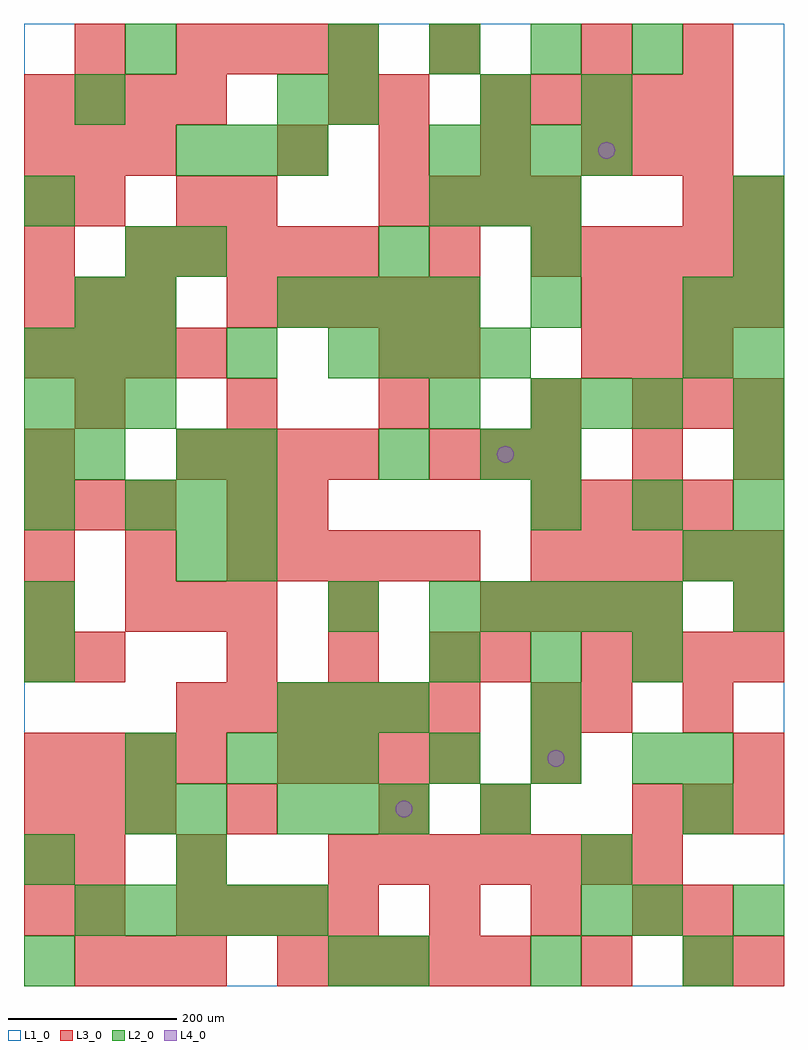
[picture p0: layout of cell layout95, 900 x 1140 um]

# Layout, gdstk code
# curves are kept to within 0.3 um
import gdstk
lib = gdstk.Library(unit=1e-6, precision=1e-09)
def R(c, l, rs):  # rectangles x0, y0, x1, y1
    for r in rs: c.add(gdstk.rectangle(r[:2], r[2:], *l))
def A(c, l, x, y, w, h, nx, ny, dx, dy):  # array of equal rectangles
    R(c, l, [(x+i*dx, y+j*dy, x+i*dx+w, y+j*dy+h) for i in range(nx) for j in range(ny)])
def P(c, l, *ps):  # polygons
    for p in ps: c.add(gdstk.Polygon(p, *l))
L1_0 = (1, 0)
L2_0 = (2, 0)
L3_0 = (3, 0)
L4_0 = (4, 0)

layout95 = lib.new_cell('layout95')
R(layout95, L1_0, [(0,0,900,1140)])
A(layout95, L2_0, 420, 0, 60, 60, 3, 1, 180, 0)
A(layout95, L2_0, 60, 60, 60, 60, 5, 1, 60, 0)
A(layout95, L2_0, 300, 180, 60, 60, 3, 2, 60, 120)
A(layout95, L2_0, 540, 180, 60, 60, 1, 3, 0, 420)
A(layout95, L2_0, 240, 240, 60, 60, 3, 1, 60, 0)
A(layout95, L2_0, 480, 240, 60, 60, 3, 2, 120, 120)
A(layout95, L2_0, 780, 240, 60, 60, 1, 3, 0, 240)
A(layout95, L2_0, 480, 420, 60, 60, 5, 1, 60, 0)
A(layout95, L2_0, 240, 480, 60, 60, 1, 3, 0, 120)
A(layout95, L2_0, 120, 540, 60, 60, 3, 1, 60, 0)
A(layout95, L2_0, 600, 540, 60, 60, 3, 1, 120, 0)
A(layout95, L2_0, 840, 600, 60, 60, 1, 6, 0, 60)
A(layout95, L2_0, 0, 660, 60, 60, 3, 2, 60, 60)
A(layout95, L2_0, 600, 660, 60, 60, 3, 1, 60, 0)
A(layout95, L2_0, 360, 720, 60, 60, 4, 1, 60, 0)
A(layout95, L2_0, 300, 780, 60, 60, 4, 1, 60, 0)
A(layout95, L2_0, 480, 900, 60, 60, 3, 1, 60, 0)
A(layout95, L2_0, 180, 960, 60, 60, 3, 1, 60, 0)
A(layout95, L2_0, 480, 960, 60, 60, 4, 1, 60, 0)
A(layout95, L2_0, 360, 1080, 60, 60, 4, 1, 120, 0)
R(layout95, L2_0, [(0,0,60,60), (360,0,420,60), (660,60,720,120), (720,60,780,120), (840,60,900,120), (0,120,60,180), (180,120,240,180), (660,120,720,180), (120,180,180,240), (180,180,240,240), (780,180,840,240), (120,240,180,300), (600,300,660,360), (0,360,60,420), (0,420,60,480), (360,420,420,480), (840,420,900,480), (180,480,240,540), (840,480,900,540), (0,540,60,600), (0,600,60,660), (60,600,120,660), (180,600,240,660), (420,600,480,660), (600,600,660,660), (480,660,540,720), (60,780,120,840), (120,780,180,840), (600,780,660,840), (780,780,840,840), (120,840,180,900), (180,840,240,900), (420,840,480,900), (600,840,660,900), (0,900,60,960), (60,1020,120,1080), (300,1020,360,1080), (360,1020,420,1080), (660,1020,720,1080), (120,1080,180,1140)])
A(layout95, L3_0, 60, 0, 60, 60, 3, 1, 60, 0)
A(layout95, L3_0, 300, 0, 60, 60, 5, 1, 60, 0)
A(layout95, L3_0, 180, 60, 60, 60, 4, 2, 60, 540)
A(layout95, L3_0, 480, 60, 60, 60, 3, 1, 120, 0)
A(layout95, L3_0, 360, 120, 60, 60, 7, 1, 60, 0)
A(layout95, L3_0, 0, 180, 60, 60, 3, 2, 60, 360)
A(layout95, L3_0, 240, 180, 60, 60, 1, 3, 0, 360)
A(layout95, L3_0, 720, 180, 60, 60, 3, 2, 60, 480)
A(layout95, L3_0, 0, 240, 60, 60, 4, 2, 60, 480)
A(layout95, L3_0, 300, 240, 60, 60, 4, 2, 60, 240)
A(layout95, L3_0, 840, 240, 60, 60, 1, 3, 0, 180)
A(layout95, L3_0, 180, 300, 60, 60, 6, 1, 60, 0)
A(layout95, L3_0, 240, 360, 60, 60, 3, 1, 120, 0)
A(layout95, L3_0, 660, 360, 60, 60, 4, 2, 60, 420)
A(layout95, L3_0, 120, 420, 60, 60, 3, 1, 60, 0)
A(layout95, L3_0, 540, 420, 60, 60, 4, 1, 60, 0)
A(layout95, L3_0, 0, 480, 60, 60, 3, 1, 120, 0)
A(layout95, L3_0, 600, 480, 60, 60, 5, 2, 60, 360)
A(layout95, L3_0, 600, 540, 60, 60, 4, 1, 60, 0)
A(layout95, L3_0, 480, 600, 60, 60, 3, 1, 60, 0)
A(layout95, L3_0, 60, 660, 60, 60, 4, 1, 180, 0)
A(layout95, L3_0, 660, 720, 60, 60, 3, 1, 60, 0)
A(layout95, L3_0, 0, 780, 60, 60, 3, 2, 60, 180)
A(layout95, L3_0, 240, 780, 60, 60, 5, 1, 60, 0)
A(layout95, L3_0, 120, 840, 60, 60, 5, 1, 60, 0)
A(layout95, L3_0, 420, 900, 60, 60, 4, 1, 60, 0)
A(layout95, L3_0, 300, 960, 60, 60, 4, 1, 120, 0)
A(layout95, L3_0, 0, 1020, 60, 60, 4, 1, 60, 0)
A(layout95, L3_0, 540, 1020, 60, 60, 5, 1, 60, 0)
A(layout95, L3_0, 180, 1080, 60, 60, 4, 1, 60, 0)
R(layout95, L3_0, [(660,0,720,60), (780,0,840,60), (840,0,900,60), (0,60,60,120), (60,60,120,120), (780,60,840,120), (0,120,60,180), (60,120,120,180), (180,120,240,180), (420,180,480,240), (540,180,600,240), (600,240,660,300), (600,300,660,360), (660,300,720,360), (780,300,840,360), (0,360,60,420), (60,360,120,420), (540,360,600,420), (0,420,60,480), (360,420,420,480), (300,540,360,600), (0,600,60,660), (720,600,780,660), (420,720,480,780), (480,720,540,780), (0,840,60,900), (480,840,540,900), (0,900,60,960), (60,900,120,960), (180,900,240,960), (780,900,840,960), (840,900,900,960), (720,960,780,1020), (780,960,840,1020), (360,1020,420,1080), (420,1020,480,1080), (60,1080,120,1140), (480,1080,540,1140), (660,1080,720,1140), (780,1080,840,1140)])
P(layout95, L4_0, [(460,210),(459.239,213.827),(457.071,217.071),(453.827,219.239),(450,220),(446.173,219.239),(442.929,217.071),(440.761,213.827),(440,210),(440.761,206.173),(442.929,202.929),(446.173,200.761),(450,200),(453.827,200.761),(457.071,202.929),(459.239,206.173)],
  [(580,630),(579.239,633.827),(577.071,637.071),(573.827,639.239),(570,640),(566.173,639.239),(562.929,637.071),(560.761,633.827),(560,630),(560.761,626.173),(562.929,622.929),(566.173,620.761),(570,620),(573.827,620.761),(577.071,622.929),(579.239,626.173)],
  [(640,270),(639.239,273.827),(637.071,277.071),(633.827,279.239),(630,280),(626.173,279.239),(622.929,277.071),(620.761,273.827),(620,270),(620.761,266.173),(622.929,262.929),(626.173,260.761),(630,260),(633.827,260.761),(637.071,262.929),(639.239,266.173)],
  [(700,990),(699.239,993.827),(697.071,997.071),(693.827,999.239),(690,1000),(686.173,999.239),(682.929,997.071),(680.761,993.827),(680,990),(680.761,986.173),(682.929,982.929),(686.173,980.761),(690,980),(693.827,980.761),(697.071,982.929),(699.239,986.173)])

lib.write_gds('layout95.gds')
